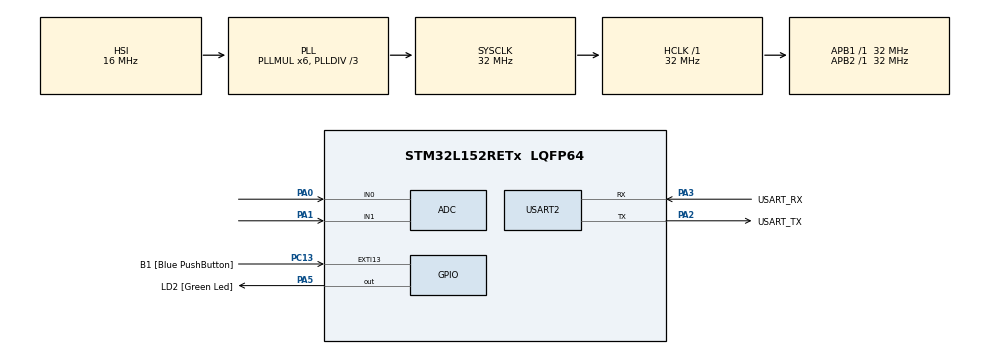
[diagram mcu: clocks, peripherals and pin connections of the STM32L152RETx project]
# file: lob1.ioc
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ADC.Channel-0\#ChannelRegularConversion=ADC_CHANNEL_0
ADC.NbrOfConversionFlag=1
ADC.Rank-0\#ChannelRegularConversion=1
ADC.SamplingTime-0\#ChannelRegularConversion=ADC_SAMPLETIME_4CYCLES
Mcu.Family=STM32L1
Mcu.Name=STM32L152RETx
Mcu.Package=LQFP64
NVIC.PriorityGroup=NVIC_PRIORITYGROUP_0
PA0-WKUP1.Mode=IN0
PA0-WKUP1.Signal=ADC_IN0
PA1.Mode=IN1
PA1.Signal=ADC_IN1
PA13.GPIO_Label=TMS
PA13.Mode=Serial_Wire
PA13.Signal=SYS_JTMS-SWDIO
PA14.GPIO_Label=TCK
PA14.Mode=Serial_Wire
PA14.Signal=SYS_JTCK-SWCLK
PA2.GPIO_Label=USART_TX
PA2.Mode=Asynchronous
PA2.Signal=USART2_TX
PA3.GPIO_Label=USART_RX
PA3.Mode=Asynchronous
PA3.Signal=USART2_RX
PA5.GPIO_Label=LD2 [Green Led]
PA5.Signal=GPIO_Output
PB3.GPIO_Label=SWO
PB3.Signal=SYS_JTDO-TRACESWO
PC13-WKUP2.GPIO_Label=B1 [Blue PushButton]
PC13-WKUP2.Signal=GPXTI13
PC14-OSC32_IN.Mode=LSE-External-Oscillator
PC14-OSC32_IN.Signal=RCC_OSC32_IN
PC15-OSC32_OUT.Mode=LSE-External-Oscillator
PC15-OSC32_OUT.Signal=RCC_OSC32_OUT
PH0-OSC_IN.Mode=HSE-External-Clock-Source
PH0-OSC_IN.Signal=RCC_OSC_IN
PH1-OSC_OUT.Signal=RCC_OSC_OUT
ProjectManager.HeapSize=0x200
ProjectManager.StackSize=0x400
ProjectManager.TargetToolchain=TrueSTUDIO
RCC.48MHZClocksFreq_Value=48000000
RCC.AHBFreq_Value=32000000
RCC.APB1Freq_Value=32000000
RCC.APB1TimFreq_Value=32000000
RCC.APB2Freq_Value=32000000
RCC.APB2TimFreq_Value=32000000
RCC.HCLKFreq_Value=32000000
RCC.HSE_VALUE=8000000
RCC.HSI_VALUE=16000000
RCC.MSI_VALUE=2097000
RCC.PLLDIV=RCC_PLL_DIV3
RCC.PLLMUL=RCC_PLL_MUL6
RCC.RTCClockSelectionVirtual=RCC_RTCCLKSOURCE_LSE
RCC.SYSCLKFreq_VALUE=32000000
RCC.SYSCLKSource=RCC_SYSCLKSOURCE_PLLCLK
RCC.USBOutput=48000000
RCC.VCOOutputFreq_Value=96000000
USART2.VirtualMode=VM_ASYNC
board=NUCLEO-L152RE

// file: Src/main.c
/**
  ******************************************************************************
  * @file           : main.c
  * @brief          : Main program body
  ******************************************************************************
  ** This notice applies to any and all portions of this file
  * that are not between comment pairs USER CODE BEGIN and
  * USER CODE END. Other portions of this file, whether
  * inserted by the user or by software development tools
  * are owned by their respective copyright owners.
  *
  * COPYRIGHT(c) 2018 STMicroelectronics
  *
  * Redistribution and use in source and binary forms, with or without modification,
  * are permitted provided that the following conditions are met:
  *   1. Redistributions of source code must retain the above copyright notice,
  *      this list of conditions and the following disclaimer.
  *   2. Redistributions in binary form must reproduce the above copyright notice,
  *      this list of conditions and the following disclaimer in the documentation
  *      and/or other materials provided with the distribution.
  *   3. Neither the name of STMicroelectronics nor the names of its contributors
  *      may be used to endorse or promote products derived from this software
  *      without specific prior written permission.
  *
  * THIS SOFTWARE IS PROVIDED BY THE COPYRIGHT HOLDERS AND CONTRIBUTORS "AS IS"
  * AND ANY EXPRESS OR IMPLIED WARRANTIES, INCLUDING, BUT NOT LIMITED TO, THE
  * IMPLIED WARRANTIES OF MERCHANTABILITY AND FITNESS FOR A PARTICULAR PURPOSE ARE
  * DISCLAIMED. IN NO EVENT SHALL THE COPYRIGHT HOLDER OR CONTRIBUTORS BE LIABLE
  * FOR ANY DIRECT, INDIRECT, INCIDENTAL, SPECIAL, EXEMPLARY, OR CONSEQUENTIAL
  * DAMAGES (INCLUDING, BUT NOT LIMITED TO, PROCUREMENT OF SUBSTITUTE GOODS OR
  * SERVICES; LOSS OF USE, DATA, OR PROFITS; OR BUSINESS INTERRUPTION) HOWEVER
  * CAUSED AND ON ANY THEORY OF LIABILITY, WHETHER IN CONTRACT, STRICT LIABILITY,
  * OR TORT (INCLUDING NEGLIGENCE OR OTHERWISE) ARISING IN ANY WAY OUT OF THE USE
  * OF THIS SOFTWARE, EVEN IF ADVISED OF THE POSSIBILITY OF SUCH DAMAGE.
  *
  ******************************************************************************
  */
#include "main.h"
#include "stm32l1xx_hal.h"

ADC_HandleTypeDef hadc;

UART_HandleTypeDef huart2;

/* USER CODE BEGIN PV */
/* Private variables ---------------------------------------------------------*/

/* USER CODE END PV */

void SystemClock_Config(void);
static void MX_GPIO_Init(void);
static void MX_USART2_UART_Init(void);
static void MX_ADC_Init(void);

/* USER CODE BEGIN PFP */
/* Private function prototypes -----------------------------------------------*/

/* USER CODE END PFP */

/* USER CODE BEGIN 0 */
void bubbleShort(double arr[], int size){
	int i, k;

	for(i = 0; i < size; i++){
		for(k = i; k < size; k++){
			if(arr[k] < arr[i]){
				double temp;
				temp = arr[i];
				arr[i] = arr[k];
				arr[k] = temp;
			}
		}
	}

}
/* USER CODE END 0 */

char msg[20] = "";
double value;
int main(void)
{

  /* MCU Configuration----------------------------------------------------------*/

  /* Reset of all peripherals, Initializes the Flash interface and the Systick. */
  HAL_Init();

  /* Configure the system clock */
  SystemClock_Config();

  /* Initialize all configured peripherals */
  MX_GPIO_Init();
  MX_USART2_UART_Init();
  MX_ADC_Init();

  /* Infinite loop */
  while (1)
  {

  /* USER CODE BEGIN 3 */
  HAL_ADC_Start(&hadc);
  HAL_ADC_PollForConversion(&hadc, 100);
  double raw = (double) HAL_ADC_GetValue(&hadc);
  value = (double) (raw*3000/4096);
  sprintf(msg, "%.2f\r\n", value);
  HAL_UART_Transmit(&huart2, (uint8_t*) msg, 20, 100);
  HAL_Delay(1000);

  }
  /* USER CODE END 3 */

}

void SystemClock_Config(void)
{

  RCC_OscInitTypeDef RCC_OscInitStruct;
  RCC_ClkInitTypeDef RCC_ClkInitStruct;

    /**Configure the main internal regulator output voltage
    */
  __HAL_PWR_VOLTAGESCALING_CONFIG(PWR_REGULATOR_VOLTAGE_SCALE1);

    /**Initializes the CPU, AHB and APB busses clocks
    */
  RCC_OscInitStruct.OscillatorType = RCC_OSCILLATORTYPE_HSI;
  RCC_OscInitStruct.HSIState = RCC_HSI_ON;
  RCC_OscInitStruct.HSICalibrationValue = 16;
  RCC_OscInitStruct.PLL.PLLState = RCC_PLL_ON;
  RCC_OscInitStruct.PLL.PLLSource = RCC_PLLSOURCE_HSI;
  RCC_OscInitStruct.PLL.PLLMUL = RCC_PLL_MUL6;
  RCC_OscInitStruct.PLL.PLLDIV = RCC_PLL_DIV3;
  if (HAL_RCC_OscConfig(&RCC_OscInitStruct) != HAL_OK)
  {
    _Error_Handler(__FILE__, __LINE__);
  }

    /**Initializes the CPU, AHB and APB busses clocks
    */
  RCC_ClkInitStruct.ClockType = RCC_CLOCKTYPE_HCLK|RCC_CLOCKTYPE_SYSCLK
                              |RCC_CLOCKTYPE_PCLK1|RCC_CLOCKTYPE_PCLK2;
  RCC_ClkInitStruct.SYSCLKSource = RCC_SYSCLKSOURCE_PLLCLK;
  RCC_ClkInitStruct.AHBCLKDivider = RCC_SYSCLK_DIV1;
  RCC_ClkInitStruct.APB1CLKDivider = RCC_HCLK_DIV1;
  RCC_ClkInitStruct.APB2CLKDivider = RCC_HCLK_DIV1;

  if (HAL_RCC_ClockConfig(&RCC_ClkInitStruct, FLASH_LATENCY_1) != HAL_OK)
  {
    _Error_Handler(__FILE__, __LINE__);
  }

    /**Configure the Systick interrupt time
    */
  HAL_SYSTICK_Config(HAL_RCC_GetHCLKFreq()/1000);

    /**Configure the Systick
    */
  HAL_SYSTICK_CLKSourceConfig(SYSTICK_CLKSOURCE_HCLK);

  /* SysTick_IRQn interrupt configuration */
  HAL_NVIC_SetPriority(SysTick_IRQn, 0, 0);
}

/* ADC init function */
static void MX_ADC_Init(void)
{

  ADC_ChannelConfTypeDef sConfig;

    /**Configure the global features of the ADC (Clock, Resolution, Data Alignment and number of conversion)
    */
  hadc.Instance = ADC1;
  hadc.Init.ClockPrescaler = ADC_CLOCK_ASYNC_DIV1;
  hadc.Init.Resolution = ADC_RESOLUTION_12B;
  hadc.Init.DataAlign = ADC_DATAALIGN_RIGHT;
  hadc.Init.ScanConvMode = ADC_SCAN_DISABLE;
  hadc.Init.EOCSelection = ADC_EOC_SEQ_CONV;
  hadc.Init.LowPowerAutoWait = ADC_AUTOWAIT_DISABLE;
  hadc.Init.LowPowerAutoPowerOff = ADC_AUTOPOWEROFF_DISABLE;
  hadc.Init.ChannelsBank = ADC_CHANNELS_BANK_A;
  hadc.Init.ContinuousConvMode = DISABLE;
  hadc.Init.NbrOfConversion = 1;
  hadc.Init.DiscontinuousConvMode = DISABLE;
  hadc.Init.ExternalTrigConv = ADC_SOFTWARE_START;
  hadc.Init.ExternalTrigConvEdge = ADC_EXTERNALTRIGCONVEDGE_NONE;
  hadc.Init.DMAContinuousRequests = DISABLE;
  if (HAL_ADC_Init(&hadc) != HAL_OK)
  {
    _Error_Handler(__FILE__, __LINE__);
  }

    /**Configure for the selected ADC regular channel its corresponding rank in the sequencer and its sample time.
    */
  sConfig.Channel = ADC_CHANNEL_0;
  sConfig.Rank = ADC_REGULAR_RANK_1;
  sConfig.SamplingTime = ADC_SAMPLETIME_4CYCLES;
  if (HAL_ADC_ConfigChannel(&hadc, &sConfig) != HAL_OK)
  {
    _Error_Handler(__FILE__, __LINE__);
  }

}

/* USART2 init function */
static void MX_USART2_UART_Init(void)
{

  huart2.Instance = USART2;
  huart2.Init.BaudRate = 115200;
  huart2.Init.WordLength = UART_WORDLENGTH_8B;
  huart2.Init.StopBits = UART_STOPBITS_1;
  huart2.Init.Parity = UART_PARITY_NONE;
  huart2.Init.Mode = UART_MODE_TX_RX;
  huart2.Init.HwFlowCtl = UART_HWCONTROL_NONE;
  huart2.Init.OverSampling = UART_OVERSAMPLING_16;
  if (HAL_UART_Init(&huart2) != HAL_OK)
  {
    _Error_Handler(__FILE__, __LINE__);
  }

}

/** Configure pins as
        * Analog
        * Input
        * Output
        * EVENT_OUT
        * EXTI
*/
static void MX_GPIO_Init(void)
{

  GPIO_InitTypeDef GPIO_InitStruct;

  /* GPIO Ports Clock Enable */
  __HAL_RCC_GPIOC_CLK_ENABLE();
  __HAL_RCC_GPIOH_CLK_ENABLE();
  __HAL_RCC_GPIOA_CLK_ENABLE();
  __HAL_RCC_GPIOB_CLK_ENABLE();

  /*Configure GPIO pin Output Level */
  HAL_GPIO_WritePin(LD2_GPIO_Port, LD2_Pin, GPIO_PIN_RESET);

  /*Configure GPIO pin : B1_Pin */
  GPIO_InitStruct.Pin = B1_Pin;
  GPIO_InitStruct.Mode = GPIO_MODE_IT_RISING;
  GPIO_InitStruct.Pull = GPIO_NOPULL;
  HAL_GPIO_Init(B1_GPIO_Port, &GPIO_InitStruct);

  /*Configure GPIO pin : LD2_Pin */
  GPIO_InitStruct.Pin = LD2_Pin;
  GPIO_InitStruct.Mode = GPIO_MODE_OUTPUT_PP;
  GPIO_InitStruct.Pull = GPIO_NOPULL;
  GPIO_InitStruct.Speed = GPIO_SPEED_FREQ_LOW;
  HAL_GPIO_Init(LD2_GPIO_Port, &GPIO_InitStruct);

}

void _Error_Handler(char *file, int line)
{
  while(1)
  {
  }
}

/************************ (C) COPYRIGHT STMicroelectronics *****END OF FILE****/
